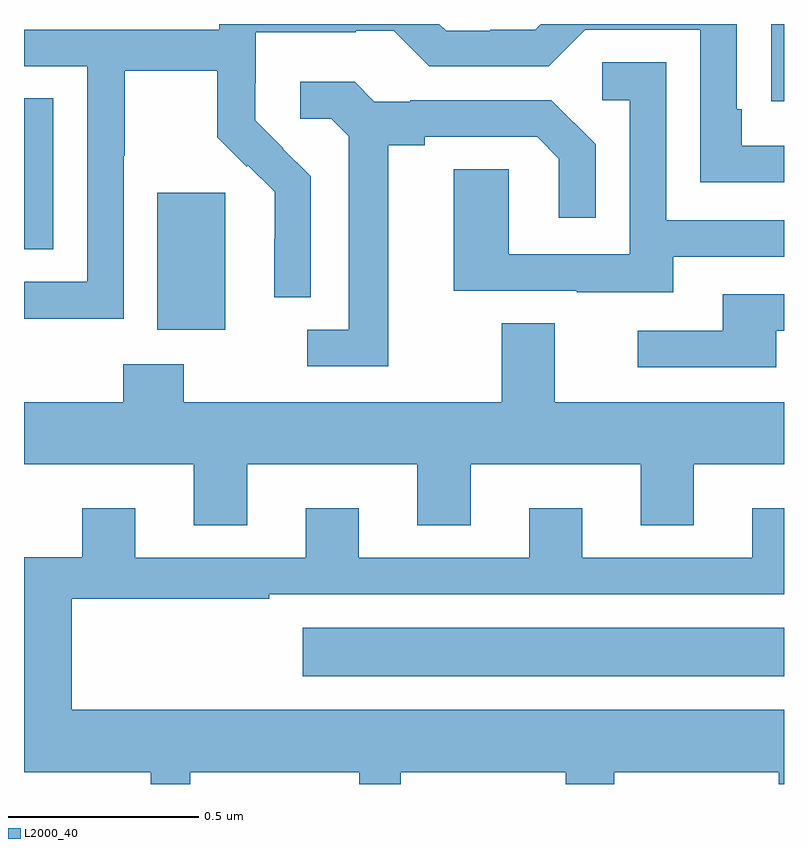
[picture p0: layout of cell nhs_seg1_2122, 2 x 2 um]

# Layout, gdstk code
import gdstk
lib = gdstk.Library(unit=1e-6, precision=1e-09)
def R(c, l, rs):  # rectangles x0, y0, x1, y1
    for r in rs: c.add(gdstk.rectangle(r[:2], r[2:], *l))
def P(c, l, *ps):  # polygons
    for p in ps: c.add(gdstk.Polygon(p, *l))
L2000_40 = (2000, 40)

nhs_seg1_2122 = lib.new_cell('nhs_seg1_2122')
R(nhs_seg1_2122, L2000_40, [(137.733,576.482,139,576.61), (137.351,577.394,137.53,577.755), (137,577.606,137.077,578.003), (138.967,577.996,139,578.199)])
P(nhs_seg1_2122, L2000_40, [(137.262,577.852),(137.265,577.852),(137.265,578.076),(137.509,578.076),(137.509,577.901),(137.586,577.824),(137.589,577.827),(137.66,577.757),(137.66,577.634),(137.658,577.634),(137.658,577.48),(137.754,577.48),(137.754,577.798),(137.681,577.871),(137.682,577.872),(137.608,577.946),(137.608,578.043),(137.61,578.043),(137.61,578.177),(137.873,578.177),(137.873,578.181),(137.973,578.181),(138.066,578.088),(138.381,578.088),(138.477,578.184),(138.78,578.184),(138.78,577.782),(139,577.782),(139,577.878),(138.889,577.878),(138.889,577.975),(138.876,577.975),(138.876,578.199),(138.36,578.199),(138.345,578.184),(138.227,578.184),(138.227,578.181),(138.111,578.181),(138.093,578.199),(137.514,578.199),(137.514,578.184),(137,578.184),(137,578.088),(137.166,578.088),(137.166,577.521),(137,577.521),(137,577.423),(137.262,577.423)],
  [(138.709,577.587),(139,577.587),(139,577.683),(138.69,577.683),(138.69,578.099),(138.522,578.099),(138.522,577.998),(138.594,577.998),(138.594,577.593),(138.276,577.593),(138.276,577.817),(138.131,577.817),(138.131,577.497),(138.455,577.497),(138.455,577.493),(138.709,577.493)],
  [(137.959,577.88),(138.055,577.88),(138.055,577.902),(138.35,577.902),(138.407,577.845),(138.407,577.689),(138.504,577.689),(138.504,577.882),(138.388,577.998),(138.016,577.998),(138.016,577.995),(137.922,577.995),(137.87,578.047),(137.727,578.047),(137.727,577.95),(137.808,577.95),(137.855,577.903),(137.855,577.395),(137.745,577.395),(137.745,577.299),(137.959,577.299)],
  [(138.979,577.392),(139,577.392),(139,577.488),(138.839,577.488),(138.839,577.392),(138.615,577.392),(138.615,577.296),(138.979,577.296)],
  [(137.587,577.04),(138.035,577.04),(138.035,576.88),(138.175,576.88),(138.175,577.04),(138.623,577.04),(138.623,576.88),(138.763,576.88),(138.763,577.04),(139,577.04),(139,577.204),(138.397,577.204),(138.397,577.412),(138.257,577.412),(138.257,577.204),(137.421,577.204),(137.421,577.303),(137.261,577.303),(137.261,577.204),(137,577.204),(137,577.04),(137.447,577.04),(137.447,576.88),(137.587,576.88)],
  [(137.437,576.23),(137.882,576.23),(137.882,576.199),(137.992,576.199),(137.992,576.23),(138.425,576.23),(138.425,576.199),(138.553,576.199),(138.553,576.23),(138.986,576.23),(138.986,576.199),(139,576.199),(139,576.394),(137.125,576.394),(137.125,576.687),(137.645,576.687),(137.645,576.699),(139,576.699),(139,576.925),(138.917,576.925),(138.917,576.795),(138.469,576.795),(138.469,576.925),(138.329,576.925),(138.329,576.795),(137.881,576.795),(137.881,576.925),(137.741,576.925),(137.741,576.795),(137.293,576.795),(137.293,576.925),(137.153,576.925),(137.153,576.796),(137,576.796),(137,576.23),(137.333,576.23),(137.333,576.199),(137.437,576.199)])

lib.write_gds('nhs_seg1_2122.gds')
